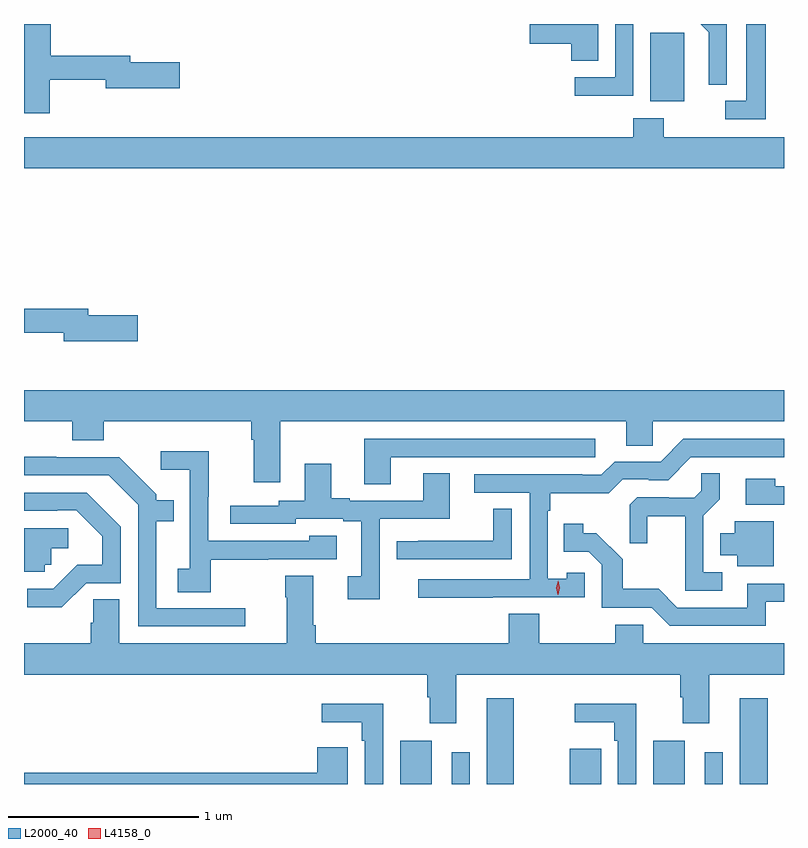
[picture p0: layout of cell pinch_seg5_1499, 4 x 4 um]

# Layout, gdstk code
import gdstk
lib = gdstk.Library(unit=1e-6, precision=1e-09)
def R(c, l, rs):  # rectangles x0, y0, x1, y1
    for r in rs: c.add(gdstk.rectangle(r[:2], r[2:], *l))
def P(c, l, *ps):  # polygons
    for p in ps: c.add(gdstk.Polygon(p, *l))
L2000_40 = (2000, 40)
L4158_0 = (4158, 0)

pinch_seg5_1499 = lib.new_cell('pinch_seg5_1499')
R(pinch_seg5_1499, L2000_40, [(336.278,864.176,336.445,864.403), (336.549,864.176,336.645,864.343), (336.734,864.176,336.876,864.628), (337.172,864.176,337.336,864.361), (337.61,864.176,337.777,864.403), (337.881,864.176,337.977,864.343), (338.066,864.176,338.213,864.628), (337.595,867.77,337.774,868.131)])
P(pinch_seg5_1499, L2000_40, [(337.998,868.174),(337.996,868.176),(337.86,868.176),(337.904,868.133),(337.904,868.01),(337.902,868.01),(337.902,867.856),(337.998,867.856)],
  [(337.321,868.176),(336.96,868.176),(336.96,868.073),(337.178,868.073),(337.178,867.982),(337.321,867.982)],
  [(334.434,867.882),(334.73,867.882),(334.73,867.839),(335.119,867.839),(335.119,867.974),(334.858,867.974),(334.858,868.01),(334.439,868.01),(334.439,868.176),(334.299,868.176),(334.299,867.705),(334.434,867.705)],
  [(337.506,868.176),(337.41,868.176),(337.41,867.897),(337.197,867.897),(337.197,867.799),(337.506,867.799)],
  [(338.203,868.176),(338.099,868.176),(338.099,867.771),(337.989,867.771),(337.989,867.675),(338.203,867.675)],
  [(338.299,867.58),(337.665,867.58),(337.665,867.679),(337.505,867.679),(337.505,867.58),(334.299,867.58),(334.299,867.416),(338.299,867.416)],
  [(334.897,866.642),(334.636,866.642),(334.636,866.678),(334.299,866.678),(334.299,866.55),(334.508,866.55),(334.508,866.507),(334.897,866.507)],
  [(335.647,866.084),(337.469,866.084),(337.469,865.957),(337.608,865.957),(337.608,866.084),(338.299,866.084),(338.299,866.248),(334.299,866.248),(334.299,866.084),(334.553,866.084),(334.553,865.985),(334.718,865.985),(334.718,866.084),(335.495,866.084),(335.495,865.988),(335.507,865.988),(335.507,865.764),(335.647,865.764)],
  [(336.229,865.896),(337.306,865.896),(337.306,865.992),(336.089,865.992),(336.089,865.753),(336.229,865.753)],
  [(336.767,865.158),(337.251,865.158),(337.251,865.287),(337.155,865.287),(337.155,865.255),(337.056,865.255),(337.056,865.613),(337.069,865.613),(337.069,865.706),(337.376,865.706),(337.449,865.779),(337.588,865.779),(337.588,865.776),(337.689,865.776),(337.809,865.896),(338.299,865.896),(338.299,865.992),(337.77,865.992),(337.65,865.872),(337.407,865.872),(337.338,865.803),(337.238,865.803),(337.238,865.806),(336.669,865.806),(336.669,865.71),(336.96,865.71),(336.96,865.254),(336.375,865.254),(336.375,865.156),(336.767,865.156)],
  [(335.281,865.357),(335.585,865.357),(335.585,865.359),(335.944,865.359),(335.944,865.483),(335.799,865.483),(335.799,865.455),(335.268,865.455),(335.268,865.688),(335.271,865.688),(335.271,865.927),(335.019,865.927),(335.019,865.829),(335.172,865.829),(335.172,865.308),(335.109,865.308),(335.109,865.186),(335.281,865.186)],
  [(335.464,865.101),(334.996,865.101),(334.996,865.56),(335.087,865.56),(335.087,865.669),(334.995,865.669),(334.995,865.701),(334.8,865.896),(334.469,865.896),(334.469,865.898),(334.299,865.898),(334.299,865.8),(334.746,865.8),(334.899,865.647),(334.899,865.005),(335.464,865.005)],
  [(336.171,865.572),(336.541,865.572),(336.541,865.811),(336.401,865.811),(336.401,865.668),(336.013,865.668),(336.013,865.681),(335.917,865.681),(335.917,865.861),(335.777,865.861),(335.777,865.668),(335.64,865.668),(335.64,865.641),(335.385,865.641),(335.385,865.545),(335.73,865.545),(335.73,865.572),(335.978,865.572),(335.978,865.56),(336.074,865.56),(336.074,865.269),(336.003,865.269),(336.003,865.149),(336.171,865.149)],
  [(337.975,865.29),(337.875,865.29),(337.875,865.589),(337.961,865.675),(337.961,865.811),(337.863,865.811),(337.863,865.72),(337.826,865.683),(337.692,865.683),(337.692,865.686),(337.527,865.686),(337.486,865.645),(337.486,865.443),(337.58,865.443),(337.58,865.586),(337.778,865.586),(337.778,865.194),(337.975,865.194)],
  [(338.299,865.743),(338.253,865.743),(338.253,865.783),(338.097,865.783),(338.097,865.647),(338.299,865.647)],
  [(334.626,865.233),(334.809,865.233),(334.809,865.531),(334.63,865.71),(334.299,865.71),(334.299,865.614),(334.475,865.614),(334.475,865.617),(334.575,865.617),(334.712,865.48),(334.712,865.33),(334.579,865.33),(334.452,865.203),(334.317,865.203),(334.317,865.106),(334.498,865.106)],
  [(336.867,865.625),(336.769,865.625),(336.769,865.455),(336.373,865.455),(336.373,865.454),(336.261,865.454),(336.261,865.359),(336.867,865.359)],
  [(338.245,865.558),(338.039,865.558),(338.039,865.495),(337.964,865.495),(337.964,865.379),(338.054,865.379),(338.054,865.322),(338.245,865.322)],
  [(338.204,865.134),(338.299,865.134),(338.299,865.23),(338.105,865.23),(338.105,865.104),(337.737,865.104),(337.639,865.203),(337.45,865.203),(337.45,865.358),(337.312,865.496),(337.242,865.496),(337.242,865.546),(337.141,865.546),(337.141,865.398),(337.272,865.398),(337.341,865.329),(337.341,865.104),(337.602,865.104),(337.698,865.008),(338.204,865.008)],
  [(334.407,865.329),(334.443,865.329),(334.443,865.418),(334.531,865.418),(334.531,865.521),(334.299,865.521),(334.299,865.293),(334.407,865.293)],
  [(336.574,864.752),(337.754,864.752),(337.754,864.632),(337.766,864.632),(337.766,864.495),(337.906,864.495),(337.906,864.752),(338.299,864.752),(338.299,864.916),(337.557,864.916),(337.557,865.014),(337.411,865.014),(337.411,864.916),(337.011,864.916),(337.011,865.073),(336.851,865.073),(336.851,864.916),(335.834,864.916),(335.834,865.012),(335.821,865.012),(335.821,865.273),(335.674,865.273),(335.674,865.16),(335.681,865.16),(335.681,864.916),(334.801,864.916),(334.801,865.148),(334.663,865.148),(334.663,865.026),(334.649,865.026),(334.649,864.916),(334.299,864.916),(334.299,864.752),(336.422,864.752),(336.422,864.632),(336.434,864.632),(336.434,864.495),(336.574,864.495)],
  [(336.189,864.598),(335.865,864.598),(335.865,864.5),(336.077,864.5),(336.077,864.404),(336.093,864.404),(336.093,864.176),(336.189,864.176)],
  [(337.521,864.598),(337.197,864.598),(337.197,864.5),(337.405,864.5),(337.405,864.404),(337.425,864.404),(337.425,864.176),(337.521,864.176)],
  [(336.004,864.257),(336.003,864.257),(336.003,864.37),(335.843,864.37),(335.843,864.236),(334.299,864.236),(334.299,864.176),(336.004,864.176)])
P(pinch_seg5_1499, L4158_0, [(337.109,865.173),(337.109,865.173),(337.1,865.209),(337.11,865.245),(337.11,865.245),(337.11,865.245),(337.12,865.209),(337.11,865.173)])

lib.write_gds('pinch_seg5_1499.gds')
